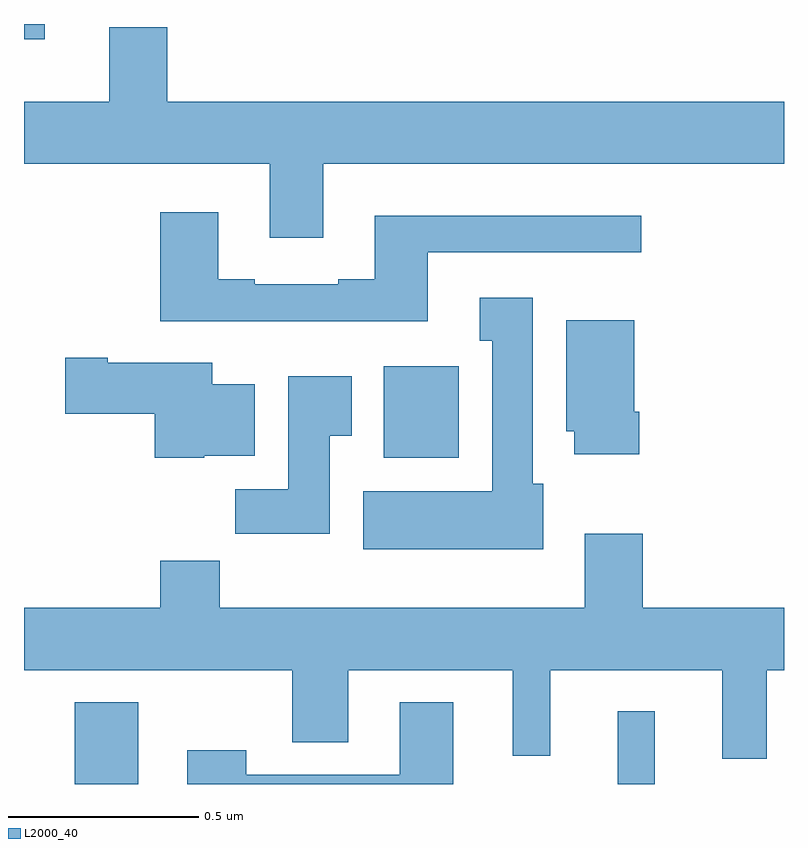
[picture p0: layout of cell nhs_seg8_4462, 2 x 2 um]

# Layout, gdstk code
import gdstk
lib = gdstk.Library(unit=1e-6, precision=1e-09)
def R(c, l, rs):  # rectangles x0, y0, x1, y1
    for r in rs: c.add(gdstk.rectangle(r[:2], r[2:], *l))
def P(c, l, *ps):  # polygons
    for p in ps: c.add(gdstk.Polygon(p, *l))
L2000_40 = (2000, 40)

nhs_seg8_4462 = lib.new_cell('nhs_seg8_4462')
R(nhs_seg8_4462, L2000_40, [(171.134,1082.9,171.301,1083.115), (172.563,1082.9,172.66,1083.091), (171.947,1083.758,172.144,1084), (171,1084.86,171.055,1084.9)])
P(nhs_seg8_4462, L2000_40, [(171.787,1084.532),(173,1084.532),(173,1084.696),(171.377,1084.696),(171.377,1084.891),(171.224,1084.891),(171.224,1084.696),(171,1084.696),(171,1084.532),(171.647,1084.532),(171.647,1084.338),(171.787,1084.338)],
  [(172.063,1084.299),(172.624,1084.299),(172.624,1084.396),(171.923,1084.396),(171.923,1084.228),(171.827,1084.228),(171.827,1084.215),(171.607,1084.215),(171.607,1084.228),(171.511,1084.228),(171.511,1084.405),(171.359,1084.405),(171.359,1084.118),(172.063,1084.118)],
  [(172.366,1083.69),(172.339,1083.69),(172.339,1084.18),(172.199,1084.18),(172.199,1084.067),(172.232,1084.067),(172.232,1083.67),(171.893,1083.67),(171.893,1083.518),(172.366,1083.518)],
  [(172.619,1083.88),(172.606,1083.88),(172.606,1084.12),(172.427,1084.12),(172.427,1083.828),(172.448,1083.828),(172.448,1083.768),(172.619,1083.768)],
  [(171.474,1083.764),(171.607,1083.764),(171.607,1083.952),(171.496,1083.952),(171.496,1084.009),(171.22,1084.009),(171.22,1084.022),(171.108,1084.022),(171.108,1083.875),(171.344,1083.875),(171.344,1083.758),(171.474,1083.758)],
  [(171.805,1083.817),(171.862,1083.817),(171.862,1083.973),(171.695,1083.973),(171.695,1083.676),(171.556,1083.676),(171.556,1083.558),(171.805,1083.558)],
  [(172.838,1082.967),(172.955,1082.967),(172.955,1083.2),(173,1083.2),(173,1083.364),(172.628,1083.364),(172.628,1083.559),(172.475,1083.559),(172.475,1083.364),(171.515,1083.364),(171.515,1083.488),(171.359,1083.488),(171.359,1083.364),(171,1083.364),(171,1083.2),(171.706,1083.2),(171.706,1083.01),(171.853,1083.01),(171.853,1083.2),(172.286,1083.2),(172.286,1082.975),(172.385,1082.975),(172.385,1083.2),(172.838,1083.2)],
  [(172.129,1083.115),(171.989,1083.115),(171.989,1082.925),(171.585,1082.925),(171.585,1082.989),(171.429,1082.989),(171.429,1082.9),(172.129,1082.9)])

lib.write_gds('nhs_seg8_4462.gds')
